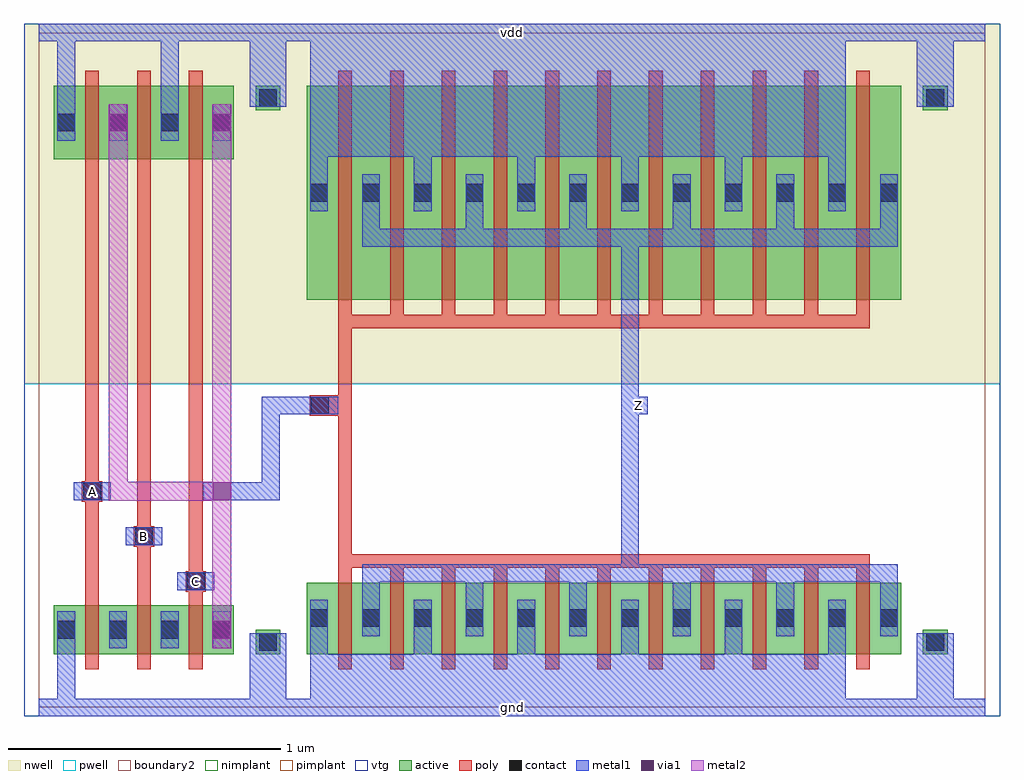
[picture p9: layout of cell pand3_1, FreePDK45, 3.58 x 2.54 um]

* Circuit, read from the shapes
.subckt pand3_1 A B C Z gnd vdd
M1 pnand3_1_0/nmos_m1_w0_180_a_p_3/D A gnd gnd nfet w=0.18u l=0.05u
M2 pnand3_1_0/nmos_m1_w0_180_a_p_4/D B pnand3_1_0/nmos_m1_w0_180_a_p_3/D gnd nfet w=0.18u l=0.05u
M3 pinv_17_1/A C pnand3_1_0/nmos_m1_w0_180_a_p_4/D gnd nfet w=0.18u l=0.05u
M4 Z pinv_17_1/A gnd gnd nfet w=0.2625u l=0.05u m=11
M5 pinv_17_1/A A vdd vdd pfet w=0.27u l=0.05u
M6 vdd B pinv_17_1/A vdd pfet w=0.27u l=0.05u
M7 pinv_17_1/A C vdd vdd pfet w=0.27u l=0.05u
M8 Z pinv_17_1/A vdd vdd pfet w=0.785u l=0.05u m=11
.ends

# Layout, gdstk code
import gdstk
lib = gdstk.Library(unit=1e-6, precision=5e-10)
def R(c, l, rs):  # rectangles x0, y0, x1, y1
    for r in rs: c.add(gdstk.rectangle(r[:2], r[2:], *l))
def A(c, l, x, y, w, h, nx, ny, dx, dy):  # array of equal rectangles
    R(c, l, [(x+i*dx, y+j*dy, x+i*dx+w, y+j*dy+h) for i in range(nx) for j in range(ny)])
active = (1, 0)
pwell = (2, 0)
nwell = (3, 0)
nimplant = (4, 0)
pimplant = (5, 0)
vtg = (6, 0)
poly = (9, 0)
contact = (10, 0)
metal1 = (11, 0)
via1 = (12, 0)
metal2 = (13, 0)
boundary2 = (239, 0)

contact_11 = lib.new_cell('contact_11')
R(contact_11, active, [(0,0.0225,0.09,0.1125)])
R(contact_11, nwell, [(-0.055,-0.0325,0.145,0.1675)])
R(contact_11, pimplant, [(0,0.0225,0.09,0.1125)])
R(contact_11, contact, [(0.0125,0.035,0.0775,0.1)])
R(contact_11, metal1, [(0.0125,0,0.0775,0.135)])

pmos_m1_w0_270_a_p = lib.new_cell('pmos_m1_w0_270_a_p')
R(pmos_m1_w0_270_a_p, active, [(0,0,0.28,0.27)])
R(pmos_m1_w0_270_a_p, nwell, [(-0.055,-0.055,0.335,0.325)])
R(pmos_m1_w0_270_a_p, pimplant, [(0,0,0.28,0.27)])
R(pmos_m1_w0_270_a_p, vtg, [(-0.055,-0.055,0.335,0.325)])
R(pmos_m1_w0_270_a_p, poly, [(0.115,-0.055,0.165,0.325), (0.115,-0.055,0.165,0.325)])
R(pmos_m1_w0_270_a_p, metal1, [(0.0125,0.0675,0.0775,0.2025), (0.2025,0.0675,0.2675,0.2025)])
R(pmos_m1_w0_270_a_p, boundary2, [(-0.055,-0.055,0.335,0.325)])
pmos_m1_w0_270_a_p.add(gdstk.Reference(contact_11, (0,0.0675)))
pmos_m1_w0_270_a_p.add(gdstk.Reference(contact_11, (0.19,0.0675)))
pmos_m1_w0_270_a_p.add(gdstk.Label('G', (0.14,0.135), layer=9, texttype=0))
pmos_m1_w0_270_a_p.add(gdstk.Label('S', (0.045,0.135), layer=11, texttype=0))
pmos_m1_w0_270_a_p.add(gdstk.Label('D', (0.235,0.135), layer=11, texttype=0))

contact_16 = lib.new_cell('contact_16')
R(contact_16, active, [(0,0.0225,0.09,0.1125)])
R(contact_16, pwell, [(-0.055,-0.0325,0.145,0.1675)])
R(contact_16, nimplant, [(0,0.0225,0.09,0.1125)])
R(contact_16, contact, [(0.0125,0.035,0.0775,0.1)])
R(contact_16, metal1, [(0.0125,0,0.0775,0.135)])

nmos_m1_w0_180_a_p = lib.new_cell('nmos_m1_w0_180_a_p')
R(nmos_m1_w0_180_a_p, active, [(0,0,0.28,0.18)])
R(nmos_m1_w0_180_a_p, pwell, [(-0.055,-0.055,0.335,0.235)])
R(nmos_m1_w0_180_a_p, nimplant, [(0,0,0.28,0.18)])
R(nmos_m1_w0_180_a_p, vtg, [(-0.055,-0.055,0.335,0.235)])
R(nmos_m1_w0_180_a_p, poly, [(0.115,-0.055,0.165,0.235), (0.115,-0.055,0.165,0.235)])
R(nmos_m1_w0_180_a_p, metal1, [(0.0125,0.0225,0.0775,0.1575), (0.2025,0.0225,0.2675,0.1575)])
R(nmos_m1_w0_180_a_p, boundary2, [(-0.055,-0.055,0.335,0.235)])
nmos_m1_w0_180_a_p.add(gdstk.Reference(contact_16, (0,0.0225)))
nmos_m1_w0_180_a_p.add(gdstk.Reference(contact_16, (0.19,0.0225)))
nmos_m1_w0_180_a_p.add(gdstk.Label('G', (0.14,0.09), layer=9, texttype=0))
nmos_m1_w0_180_a_p.add(gdstk.Label('S', (0.045,0.09), layer=11, texttype=0))
nmos_m1_w0_180_a_p.add(gdstk.Label('D', (0.235,0.09), layer=11, texttype=0))

contact_13 = lib.new_cell('contact_13')
R(contact_13, active, [(0.0225,0,0.1125,0.09)])
R(contact_13, nwell, [(-0.0325,-0.055,0.1675,0.145)])
R(contact_13, nimplant, [(0.0225,0,0.1125,0.09)])
R(contact_13, contact, [(0.035,0.0125,0.1,0.0775)])
R(contact_13, metal1, [(0,0.0125,0.135,0.0775)])

contact_17 = lib.new_cell('contact_17')
R(contact_17, active, [(0.0225,0,0.1125,0.09)])
R(contact_17, pwell, [(-0.0325,-0.055,0.1675,0.145)])
R(contact_17, pimplant, [(0.0225,0,0.1125,0.09)])
R(contact_17, contact, [(0.035,0.0125,0.1,0.0775)])
R(contact_17, metal1, [(0,0.0125,0.135,0.0775)])

contact_12 = lib.new_cell('contact_12')
R(contact_12, poly, [(0.03,0,0.105,0.075)])
R(contact_12, contact, [(0.035,0.005,0.1,0.07)])
R(contact_12, metal1, [(0,0.005,0.135,0.07)])

contact_14 = lib.new_cell('contact_14')
R(contact_14, metal1, [(0.0025,0,0.0675,0.135)])
R(contact_14, via1, [(0.0025,0.035,0.0675,0.1)])
R(contact_14, metal2, [(0,0,0.07,0.135)])

contact_19 = lib.new_cell('contact_19')
R(contact_19, metal1, [(0,0.035,0.135,0.1)])
R(contact_19, via1, [(0.035,0.035,0.1,0.1)])
R(contact_19, metal2, [(0.0325,0,0.1025,0.135)])

pnand3_1 = lib.new_cell('pnand3_1')
R(pnand3_1, pwell, [(-0.055,-0.0325,0.9825,1.1875)])
R(pnand3_1, nwell, [(-0.055,1.1875,0.9825,2.5075)])
R(pnand3_1, vtg, [(-0.055,-0.0325,0.9825,1.1875), (-0.055,1.1875,0.9825,2.5075)])
A(pnand3_1, poly, 0.17, 0.43, 0.05, 1.525, 3, 1, 0.19, 0)
R(pnand3_1, poly, [(0.55,0.425,0.575,0.5), (0.36,0.59,0.385,0.665), (0.17,0.755,0.195,0.83)])
R(pnand3_1, metal1, [(0,-0.0325,0.9275,0.0325), (0.0675,-0.0325,0.1325,0.2175), (0.7725,0,0.9075,0.24), (0.5075,0.43,0.6425,0.495), (0.3175,0.595,0.4525,0.66), (0.1275,0.76,0.2625,0.825), (0.6025,0.76,0.7375,0.825), (0.0675,2.0775,0.1325,2.5075), (0.4475,2.0775,0.5125,2.5075), (0.7725,2.235,0.9075,2.475), (0,2.4425,0.9275,2.5075)])
R(pnand3_1, metal2, [(0.635,0.3525,0.705,2.145), (0.635,0.3525,0.705,0.7925), (0.255,0.7575,0.325,0.8275), (0.29,0.7575,0.67,0.8275), (0.635,0.7575,0.705,0.8275), (0.255,0.7925,0.325,2.145)])
R(pnand3_1, boundary2, [(0,0,0.9275,2.475)])
pnand3_1.add(gdstk.Reference(pmos_m1_w0_270_a_p, (0.055,2.01)))
pnand3_1.add(gdstk.Reference(pmos_m1_w0_270_a_p, (0.245,2.01)))
pnand3_1.add(gdstk.Reference(pmos_m1_w0_270_a_p, (0.435,2.01)))
pnand3_1.add(gdstk.Reference(nmos_m1_w0_180_a_p, (0.055,0.195)))
pnand3_1.add(gdstk.Reference(nmos_m1_w0_180_a_p, (0.245,0.195)))
pnand3_1.add(gdstk.Reference(nmos_m1_w0_180_a_p, (0.435,0.195)))
pnand3_1.add(gdstk.Reference(contact_13, (0.7725,2.19)))
pnand3_1.add(gdstk.Reference(contact_17, (0.7725,0.195)))
pnand3_1.add(gdstk.Reference(contact_12, (0.5075,0.425)))
pnand3_1.add(gdstk.Reference(contact_12, (0.3175,0.59)))
pnand3_1.add(gdstk.Reference(contact_12, (0.1275,0.755)))
pnand3_1.add(gdstk.Reference(contact_14, (0.255,2.0775)))
pnand3_1.add(gdstk.Reference(contact_14, (0.635,2.0775)))
pnand3_1.add(gdstk.Reference(contact_14, (0.635,0.2175)))
pnand3_1.add(gdstk.Reference(contact_19, (0.6025,0.725)))
pnand3_1.add(gdstk.Label('gnd', (0.464,0), layer=11, texttype=0))
pnand3_1.add(gdstk.Label('vdd', (0.464,2.475), layer=11, texttype=0))
pnand3_1.add(gdstk.Label('C', (0.575,0.4625), layer=11, texttype=0))
pnand3_1.add(gdstk.Label('B', (0.385,0.6275), layer=11, texttype=0))
pnand3_1.add(gdstk.Label('A', (0.195,0.7925), layer=11, texttype=0))
pnand3_1.add(gdstk.Label('Z', (0.67,0.7925), layer=11, texttype=0))

pmos_m11_w0_785_a_p = lib.new_cell('pmos_m11_w0_785_a_p')
R(pmos_m11_w0_785_a_p, active, [(0,0,2.18,0.785)])
R(pmos_m11_w0_785_a_p, nwell, [(-0.055,-0.055,2.235,0.84)])
R(pmos_m11_w0_785_a_p, pimplant, [(0,0,2.18,0.785)])
R(pmos_m11_w0_785_a_p, vtg, [(-0.055,-0.055,2.235,0.84)])
A(pmos_m11_w0_785_a_p, poly, 0.115, -0.055, 0.05, 0.895, 11, 1, 0.19, 0)
R(pmos_m11_w0_785_a_p, poly, [(0.115,-0.105,2.065,-0.055)])
A(pmos_m11_w0_785_a_p, metal1, 0.2025, 0.2275, 0.065, 0.165, 6, 1, 0.38, 0)
A(pmos_m11_w0_785_a_p, metal1, 0.0125, 0.3925, 0.065, 0.165, 6, 1, 0.38, 0)
R(pmos_m11_w0_785_a_p, metal1, [(0.2025,0.195,2.1675,0.26), (0.0125,0.525,1.9775,0.59)])
R(pmos_m11_w0_785_a_p, boundary2, [(-0.055,-0.055,2.235,0.84)])
pmos_m11_w0_785_a_p.add(gdstk.Reference(contact_11, (0,0.325)))
pmos_m11_w0_785_a_p.add(gdstk.Reference(contact_11, (0.38,0.325)))
pmos_m11_w0_785_a_p.add(gdstk.Reference(contact_11, (0.76,0.325)))
pmos_m11_w0_785_a_p.add(gdstk.Reference(contact_11, (1.14,0.325)))
pmos_m11_w0_785_a_p.add(gdstk.Reference(contact_11, (1.52,0.325)))
pmos_m11_w0_785_a_p.add(gdstk.Reference(contact_11, (1.9,0.325)))
pmos_m11_w0_785_a_p.add(gdstk.Reference(contact_11, (0.19,0.325)))
pmos_m11_w0_785_a_p.add(gdstk.Reference(contact_11, (0.57,0.325)))
pmos_m11_w0_785_a_p.add(gdstk.Reference(contact_11, (0.95,0.325)))
pmos_m11_w0_785_a_p.add(gdstk.Reference(contact_11, (1.33,0.325)))
pmos_m11_w0_785_a_p.add(gdstk.Reference(contact_11, (1.71,0.325)))
pmos_m11_w0_785_a_p.add(gdstk.Reference(contact_11, (2.09,0.325)))
pmos_m11_w0_785_a_p.add(gdstk.Label('G', (1.09,-0.08), layer=9, texttype=0))
pmos_m11_w0_785_a_p.add(gdstk.Label('S', (0.995,0.5575), layer=11, texttype=0))
pmos_m11_w0_785_a_p.add(gdstk.Label('D', (1.185,0.2275), layer=11, texttype=0))

nmos_m11_w0_263_a_p = lib.new_cell('nmos_m11_w0_263_a_p')
R(nmos_m11_w0_263_a_p, active, [(0,0,2.18,0.2625)])
R(nmos_m11_w0_263_a_p, pwell, [(-0.055,-0.055,2.235,0.3175)])
R(nmos_m11_w0_263_a_p, nimplant, [(0,0,2.18,0.2625)])
R(nmos_m11_w0_263_a_p, vtg, [(-0.055,-0.055,2.235,0.3175)])
A(nmos_m11_w0_263_a_p, poly, 0.115, -0.055, 0.05, 0.3725, 11, 1, 0.19, 0)
R(nmos_m11_w0_263_a_p, poly, [(0.115,0.3175,2.065,0.3675)])
A(nmos_m11_w0_263_a_p, metal1, 0.0125, -0.035, 0.065, 0.165, 6, 1, 0.38, 0)
A(nmos_m11_w0_263_a_p, metal1, 0.2025, 0.13, 0.065, 0.165, 6, 1, 0.38, 0)
R(nmos_m11_w0_263_a_p, metal1, [(0.0125,-0.065,1.9775,0), (0.2025,0.265,2.1675,0.33)])
R(nmos_m11_w0_263_a_p, boundary2, [(-0.055,-0.055,2.235,0.3175)])
nmos_m11_w0_263_a_p.add(gdstk.Reference(contact_16, (0,0.065)))
nmos_m11_w0_263_a_p.add(gdstk.Reference(contact_16, (0.38,0.065)))
nmos_m11_w0_263_a_p.add(gdstk.Reference(contact_16, (0.76,0.065)))
nmos_m11_w0_263_a_p.add(gdstk.Reference(contact_16, (1.14,0.065)))
nmos_m11_w0_263_a_p.add(gdstk.Reference(contact_16, (1.52,0.065)))
nmos_m11_w0_263_a_p.add(gdstk.Reference(contact_16, (1.9,0.065)))
nmos_m11_w0_263_a_p.add(gdstk.Reference(contact_16, (0.19,0.065)))
nmos_m11_w0_263_a_p.add(gdstk.Reference(contact_16, (0.57,0.065)))
nmos_m11_w0_263_a_p.add(gdstk.Reference(contact_16, (0.95,0.065)))
nmos_m11_w0_263_a_p.add(gdstk.Reference(contact_16, (1.33,0.065)))
nmos_m11_w0_263_a_p.add(gdstk.Reference(contact_16, (1.71,0.065)))
nmos_m11_w0_263_a_p.add(gdstk.Reference(contact_16, (2.09,0.065)))
nmos_m11_w0_263_a_p.add(gdstk.Label('G', (1.09,0.3425), layer=9, texttype=0))
nmos_m11_w0_263_a_p.add(gdstk.Label('S', (0.995,-0.0325), layer=11, texttype=0))
nmos_m11_w0_263_a_p.add(gdstk.Label('D', (1.185,0.2975), layer=11, texttype=0))

pinv_17 = lib.new_cell('pinv_17')
R(pinv_17, pwell, [(-0.055,-0.0325,2.5975,1.1875)])
R(pinv_17, nwell, [(-0.055,1.1875,2.5975,2.5075)])
R(pinv_17, vtg, [(-0.055,-0.0325,2.5975,1.1875), (-0.055,1.1875,2.5975,2.5075)])
R(pinv_17, poly, [(0.17,0.5625,0.22,1.39), (0.1025,1.07,0.17,1.145)])
R(pinv_17, metal1, [(0,-0.0325,2.5425,0.0325), (0.0675,-0.0325,2.0325,0.13), (2.2925,0,2.4275,0.24), (1.2075,0.46,1.2725,1.755), (0.035,1.075,0.17,1.14), (1.24,1.075,1.305,1.14), (0.0675,2.02,2.0325,2.5075), (2.2925,2.235,2.4275,2.475), (0,2.4425,2.5425,2.5075)])
R(pinv_17, boundary2, [(0,0,2.5425,2.475)])
pinv_17.add(gdstk.Reference(pmos_m11_w0_785_a_p, (0.055,1.495)))
pinv_17.add(gdstk.Reference(nmos_m11_w0_263_a_p, (0.055,0.195)))
pinv_17.add(gdstk.Reference(contact_13, (2.2925,2.19)))
pinv_17.add(gdstk.Reference(contact_17, (2.2925,0.195)))
pinv_17.add(gdstk.Reference(contact_12, (0.035,1.07)))
pinv_17.add(gdstk.Label('gnd', (1.271,0), layer=11, texttype=0))
pinv_17.add(gdstk.Label('vdd', (1.271,2.475), layer=11, texttype=0))
pinv_17.add(gdstk.Label('A', (0.1025,1.1075), layer=11, texttype=0))
pinv_17.add(gdstk.Label('Z', (1.2725,1.1075), layer=11, texttype=0))

pand3_1 = lib.new_cell('pand3_1')
R(pand3_1, metal1, [(0,-0.0325,3.47,0.0325), (0.5075,0.43,0.6425,0.495), (0.3175,0.595,0.4525,0.66), (0.1275,0.76,0.2625,0.825), (0.67,0.76,0.85,0.825), (0.8175,0.76,0.8825,0.825), (0.8175,0.7925,0.8825,1.1075), (0.8175,1.075,0.8825,1.14), (0.85,1.075,1.03,1.14), (2.1675,1.075,2.2325,1.14), (0,2.4425,3.47,2.5075)])
R(pand3_1, boundary2, [(0,0,3.47,2.475)])
pand3_1.add(gdstk.Reference(pnand3_1, (0,0)))
pand3_1.add(gdstk.Reference(pinv_17, (0.9275,0)))
pand3_1.add(gdstk.Label('vdd', (1.735,2.475), layer=11, texttype=0))
pand3_1.add(gdstk.Label('gnd', (1.735,0), layer=11, texttype=0))
pand3_1.add(gdstk.Label('Z', (2.2,1.1075), layer=11, texttype=0))
pand3_1.add(gdstk.Label('A', (0.195,0.7925), layer=11, texttype=0))
pand3_1.add(gdstk.Label('B', (0.385,0.6275), layer=11, texttype=0))
pand3_1.add(gdstk.Label('C', (0.575,0.4625), layer=11, texttype=0))

lib.write_gds('pand3_1.gds')
